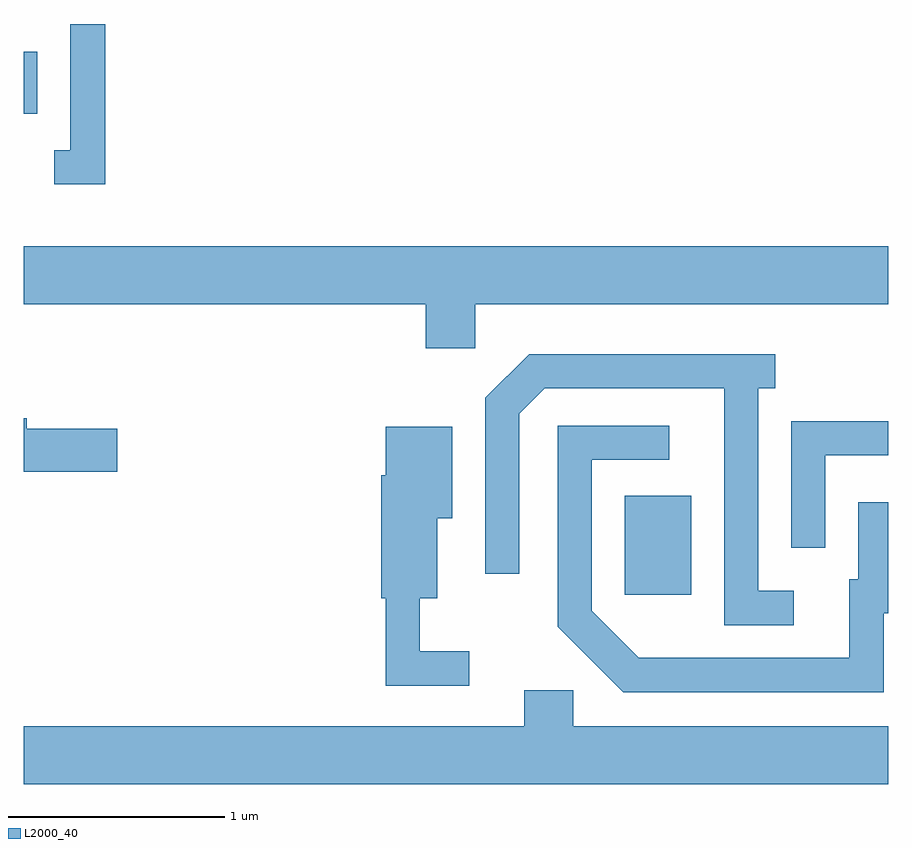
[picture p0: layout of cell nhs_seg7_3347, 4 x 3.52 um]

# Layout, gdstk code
import gdstk
lib = gdstk.Library(unit=1e-6, precision=1e-09)
def R(c, l, rs):  # rectangles x0, y0, x1, y1
    for r in rs: c.add(gdstk.rectangle(r[:2], r[2:], *l))
def P(c, l, *ps):  # polygons
    for p in ps: c.add(gdstk.Polygon(p, *l))
L2000_40 = (2000, 40)

nhs_seg7_3347 = lib.new_cell('nhs_seg7_3347')
R(nhs_seg7_3347, L2000_40, [(290.391,1739.611,290.699,1740.069), (287.611,1741.836,287.674,1742.124)])
P(nhs_seg7_3347, L2000_40, [(287.989,1742.252),(287.826,1742.252),(287.826,1741.669),(287.753,1741.669),(287.753,1741.511),(287.989,1741.511)],
  [(289.699,1740.956),(291.611,1740.956),(291.611,1741.224),(287.611,1741.224),(287.611,1740.956),(289.471,1740.956),(289.471,1740.751),(289.699,1740.751)],
  [(291.173,1739.629),(291.009,1739.629),(291.009,1740.566),(291.088,1740.566),(291.088,1740.724),(289.949,1740.724),(289.746,1740.522),(289.746,1739.708),(289.904,1739.708),(289.904,1740.449),(290.022,1740.566),(290.851,1740.566),(290.851,1739.471),(291.173,1739.471)],
  [(288.044,1740.379),(287.624,1740.379),(287.624,1740.429),(287.611,1740.429),(287.611,1740.181),(288.044,1740.181)],
  [(291.319,1740.256),(291.611,1740.256),(291.611,1740.414),(291.161,1740.414),(291.161,1739.828),(291.319,1739.828)],
  [(291.589,1739.526),(291.611,1739.526),(291.611,1740.039),(291.471,1740.039),(291.471,1739.684),(291.431,1739.684),(291.431,1739.319),(290.457,1739.319),(290.239,1739.537),(290.239,1740.236),(290.598,1740.236),(290.598,1740.394),(290.081,1740.394),(290.081,1739.464),(290.384,1739.161),(291.589,1739.161)],
  [(289.673,1739.349),(289.444,1739.349),(289.444,1739.596),(289.524,1739.596),(289.524,1739.966),(289.594,1739.966),(289.594,1740.389),(289.286,1740.389),(289.286,1740.164),(289.266,1740.164),(289.266,1739.596),(289.286,1739.596),(289.286,1739.191),(289.673,1739.191)],
  [(291.611,1739.004),(290.154,1739.004),(290.154,1739.169),(289.926,1739.169),(289.926,1739.004),(287.611,1739.004),(287.611,1738.736),(291.611,1738.736)])

lib.write_gds('nhs_seg7_3347.gds')
